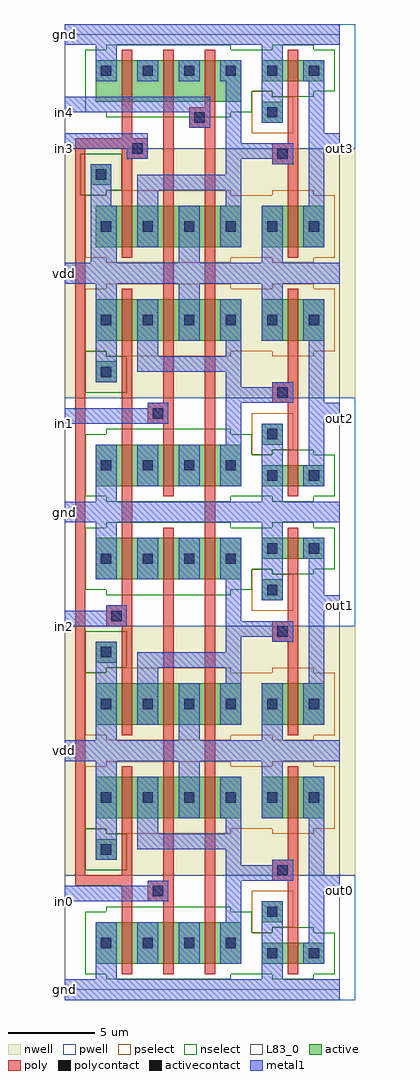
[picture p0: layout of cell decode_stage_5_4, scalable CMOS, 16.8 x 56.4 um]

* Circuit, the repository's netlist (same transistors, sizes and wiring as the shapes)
.SUBCKT decode_stage_5_4 in0 in1 in2 in3 in4 out0 out1 out2 out3 vdd gnd
M00 gnd in3 net01 gnd n w=2.4u l=0.6u
M01 net01 in0 net02 gnd n w=2.4u l=0.6u
M02 net02 in4 z0 gnd n w=2.4u l=0.6u
M03 vdd in3 z0 vdd p w=2.4u l=0.6u
M04 z0 in0 vdd vdd p w=2.4u l=0.6u
M05 vdd in4 z0 vdd p w=2.4u l=0.6u
M06 gnd z0 out0 gnd n w=1.2u l=0.6u
M07 vdd z0 out0 vdd p w=2.4u l=0.6u
M10 gnd in2 net11 gnd n w=2.4u l=0.6u
M11 net11 in0 net12 gnd n w=2.4u l=0.6u
M12 net12 in4 z1 gnd n w=2.4u l=0.6u
M13 vdd in2 z1 vdd p w=2.4u l=0.6u
M14 z1 in0 vdd vdd p w=2.4u l=0.6u
M15 vdd in4 z1 vdd p w=2.4u l=0.6u
M16 gnd z1 out1 gnd n w=1.2u l=0.6u
M17 vdd z1 out1 vdd p w=2.4u l=0.6u
M20 gnd in2 net21 gnd n w=2.4u l=0.6u
M21 net21 in1 net22 gnd n w=2.4u l=0.6u
M22 net22 in4 z2 gnd n w=2.4u l=0.6u
M23 vdd in2 z2 vdd p w=2.4u l=0.6u
M24 z2 in1 vdd vdd p w=2.4u l=0.6u
M25 vdd in4 z2 vdd p w=2.4u l=0.6u
M26 gnd z2 out2 gnd n w=1.2u l=0.6u
M27 vdd z2 out2 vdd p w=2.4u l=0.6u
M30 gnd in3 net31 gnd n w=2.4u l=0.6u
M31 net31 in1 net32 gnd n w=2.4u l=0.6u
M32 net32 in4 z3 gnd n w=2.4u l=0.6u
M33 vdd in3 z3 vdd p w=2.4u l=0.6u
M34 z3 in1 vdd vdd p w=2.4u l=0.6u
M35 vdd in4 z3 vdd p w=2.4u l=0.6u
M36 gnd z3 out3 gnd n w=1.2u l=0.6u
M37 vdd z3 out3 vdd p w=2.4u l=0.6u
.ENDS decode_stage_5_4

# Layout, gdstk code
import gdstk
lib = gdstk.Library(unit=1e-6, precision=1e-09)
def R(c, l, rs):  # rectangles x0, y0, x1, y1
    for r in rs: c.add(gdstk.rectangle(r[:2], r[2:], *l))
def A(c, l, x, y, w, h, nx, ny, dx, dy):  # array of equal rectangles
    R(c, l, [(x+i*dx, y+j*dy, x+i*dx+w, y+j*dy+h) for i in range(nx) for j in range(ny)])
pwell = (41, 0)
nwell = (42, 0)
active = (43, 0)
pselect = (44, 0)
nselect = (45, 0)
poly = (46, 0)
polycontact = (47, 0)
activecontact = (48, 0)
metal1 = (49, 0)
L83_0 = (83, 0)

decode_stage_5_4 = lib.new_cell('decode_stage_5_4')
R(decode_stage_5_4, pwell, [(0,-0.6,16.8,6.6), (0,21,16.8,34.2), (0,48.6,16.8,55.8)])
R(decode_stage_5_4, nwell, [(0,6.6,16.8,21), (0,34.2,16.8,48.6)])
R(decode_stage_5_4, active, [(1.8,1.5,10.2,3.9), (11.4,1.5,15,2.7), (11.4,3.9,12.6,5.1), (1.8,7.5,3,8.7), (1.8,9.9,10.2,12.3), (11.4,9.9,15,12.3), (1.8,15.3,10.2,17.7), (11.4,15.3,15,17.7), (1.8,18.9,3,20.1), (11.4,22.5,12.6,23.7), (1.8,23.7,10.2,26.1), (11.4,24.9,15,26.1), (1.8,29.1,10.2,31.5), (11.4,29.1,15,30.3), (11.4,31.5,12.6,32.7), (1.8,35.1,3,36.3), (1.8,37.5,10.2,39.9), (11.4,37.5,15,39.9), (1.8,42.9,10.2,45.3), (11.4,42.9,15,45.3), (1.5,46.5,2.7,47.7), (11.4,50.1,12.6,51.3), (1.8,51.3,10.2,53.7), (11.4,52.5,15,53.7)])
R(decode_stage_5_4, pselect, [(10.8,3.3,12,3.6), (10.8,3.6,13.2,5.7), (2.4,9,9.6,9.3), (12,9,14.4,9.3), (1.2,9.3,15.6,12.9), (2.4,12.9,9.6,13.2), (12,12.9,14.4,13.2), (2.4,14.4,9.6,14.7), (12,14.4,14.4,14.7), (1.2,14.7,15.6,18.3), (2.4,18.3,9.6,18.6), (12,18.3,14.4,18.6), (10.8,21.9,13.2,24), (10.8,24,12,24.3), (10.8,30.9,12,31.2), (10.8,31.2,13.2,33.3), (2.4,36.6,9.6,36.9), (12,36.6,14.4,36.9), (1.2,36.9,15.6,40.5), (2.4,40.5,9.6,40.8), (12,40.5,14.4,40.8), (2.4,42,9.6,42.3), (12,42,14.4,42.3), (1.2,42.3,15.6,45.9), (2.4,45.9,9.6,46.2), (12,45.9,14.4,46.2), (10.8,49.5,13.2,51.6), (10.8,51.6,12,51.9)])
R(decode_stage_5_4, nselect, [(2.4,0.6,9.6,0.9), (12,0.6,14.4,0.9), (1.2,0.9,15.6,3.3), (1.2,3.3,10.8,4.5), (12,3.3,14.4,3.6), (2.4,4.5,9.6,4.8), (1.2,6.9,3.6,9), (1.2,9,2.4,9.3), (1.2,18.3,2.4,18.6), (1.2,18.6,3.6,20.7), (2.4,22.8,9.6,23.1), (1.2,23.1,10.8,24.3), (12,24,14.4,24.3), (1.2,24.3,15.6,26.7), (2.4,26.7,9.6,27), (12,26.7,14.4,27), (2.4,28.2,9.6,28.5), (12,28.2,14.4,28.5), (1.2,28.5,15.6,30.9), (1.2,30.9,10.8,32.1), (12,30.9,14.4,31.2), (2.4,32.1,9.6,32.4), (1.2,34.5,3.6,36.6), (1.2,36.6,2.4,36.9), (0.9,45.9,2.4,46.2), (0.9,46.2,3.3,48.3), (2.4,50.4,9.6,50.7), (1.2,50.7,10.8,51.9), (12,51.6,14.4,51.9), (1.2,51.9,15.6,54.3), (2.4,54.3,9.6,54.6), (12,54.3,14.4,54.6)])
A(decode_stage_5_4, poly, 12, 6.3, 1.5, 1.2, 1, 4, 0, 13.8)
R(decode_stage_5_4, poly, [(3.3,0.9,3.9,6), (5.7,0.9,6.3,5.1), (8.1,0.9,8.7,49.8), (12.9,0.9,13.5,6.3), (4.8,5.1,6.3,6.3), (0.6,6,3.9,6.6), (5.7,6.3,6.3,26.7), (0.6,6.6,1.2,48.6), (3.3,6.6,3.9,12.9), (12.9,7.5,13.5,12.9), (3.3,14.7,3.9,21), (12.9,14.7,13.5,20.1), (2.4,21,3.9,22.2), (12.9,21.3,13.5,26.7), (3.3,22.2,3.9,40.5), (5.7,28.5,6.3,32.7), (12.9,28.5,13.5,33.9), (4.8,32.7,6.3,33.9), (5.7,33.9,6.3,54.3), (12.9,35.1,13.5,40.5), (3.3,42.3,3.9,48), (12.9,42.3,13.5,47.7), (3.3,48,4.8,48.6), (0.6,48.6,4.8,49.2), (12.9,48.9,13.5,54.3), (3.3,49.2,3.9,54.3), (7.2,49.8,8.7,51), (8.1,51,8.7,54.3)])
A(decode_stage_5_4, polycontact, 12.3, 6.6, 0.6, 0.6, 1, 4, 0, 13.8)
R(decode_stage_5_4, polycontact, [(5.1,5.4,5.7,6), (2.7,21.3,3.3,21.9), (5.1,33,5.7,33.6), (3.9,48.3,4.5,48.9), (7.5,50.1,8.1,50.7)])
A(decode_stage_5_4, activecontact, 2.1, 2.4, 0.6, 0.6, 4, 2, 2.4, 22.2)
A(decode_stage_5_4, activecontact, 2.1, 10.8, 0.6, 0.6, 6, 2, 2.4, 5.4)
A(decode_stage_5_4, activecontact, 2.1, 30, 0.6, 0.6, 4, 1, 2.4, 0)
A(decode_stage_5_4, activecontact, 2.1, 38.4, 0.6, 0.6, 6, 2, 2.4, 5.4)
A(decode_stage_5_4, activecontact, 2.1, 52.8, 0.6, 0.6, 6, 1, 2.4, 0)
R(decode_stage_5_4, activecontact, [(11.7,1.8,12.3,2.4), (14.1,1.8,14.7,2.4), (11.7,4.2,12.3,4.8), (2.1,7.8,2.7,8.4), (2.1,19.2,2.7,19.8), (11.7,22.8,12.3,23.4), (11.7,25.2,12.3,25.8), (14.1,25.2,14.7,25.8), (11.7,29.4,12.3,30), (14.1,29.4,14.7,30), (11.7,31.8,12.3,32.4), (2.1,35.4,2.7,36), (1.8,46.8,2.4,47.4), (11.7,50.4,12.3,51)])
A(decode_stage_5_4, metal1, 0, -0.6, 15.9, 1.2, 1, 5, 0, 13.8)
A(decode_stage_5_4, metal1, 4.2, 1.5, 1.2, 2.4, 3, 2, 2.4, 22.2)
A(decode_stage_5_4, metal1, 4.2, 29.1, 1.2, 2.4, 3, 1, 2.4, 0)
A(decode_stage_5_4, metal1, 4.2, 52.5, 1.2, 1.2, 3, 1, 2.4, 0)
R(decode_stage_5_4, metal1, [(1.8,0.6,3,3.9), (11.4,0.6,12.6,5.1), (13.8,1.5,15,2.7), (14.1,2.7,15,5.7), (9.3,3.9,10.2,6.3), (0,5.1,6,6), (14.1,5.7,15.9,6.6), (4.8,6,6,6.3), (9.3,6.3,13.2,7.2), (14.1,6.6,15,9.9), (9.3,7.2,10.2,8.1), (12,7.2,13.2,7.5), (1.8,7.5,3,13.2), (4.2,8.1,10.2,9), (4.2,9,5.4,12.3), (9.3,9,10.2,9.9), (6.6,9.9,7.8,13.2), (9,9.9,10.2,12.3), (11.4,9.9,12.6,13.2), (13.8,9.9,15,12.3), (1.8,14.4,3,20.1), (6.6,14.4,7.8,17.7), (11.4,14.4,12.6,17.7), (4.2,15.3,5.4,18.6), (9,15.3,10.2,17.7), (13.8,15.3,15,17.7), (9.3,17.7,10.2,18.6), (14.1,17.7,15,21.9), (4.2,18.6,10.2,19.5), (9.3,19.5,10.2,20.4), (12,20.1,13.2,20.4), (9.3,20.4,13.2,21.3), (0,21,3.6,21.9), (9.3,21.3,10.2,23.7), (2.4,21.9,3.6,22.2), (14.1,21.9,15.9,22.8), (11.4,22.5,12.6,27), (14.1,22.8,15,24.9), (1.8,23.7,3,27), (13.8,24.9,15,26.1), (1.8,28.2,3,31.5), (11.4,28.2,12.6,32.7), (13.8,29.1,15,30.3), (14.1,30.3,15,33), (9.3,31.5,10.2,33.9), (0,32.7,6,33.6), (14.1,33,15.9,33.9), (4.8,33.6,6,33.9), (9.3,33.9,13.2,34.8), (14.1,33.9,15,37.5), (9.3,34.8,10.2,35.7), (12,34.8,13.2,35.1), (1.8,35.1,3,40.8), (4.2,35.7,10.2,36.6), (4.2,36.6,5.4,39.9), (9.3,36.6,10.2,37.5), (6.6,37.5,7.8,40.8), (9,37.5,10.2,39.9), (11.4,37.5,12.6,40.8), (13.8,37.5,15,39.9), (1.5,42,3,45.3), (6.6,42,7.8,45.3), (11.4,42,12.6,45.3), (4.2,42.9,5.4,46.2), (9,42.9,10.2,45.3), (13.8,42.9,15,45.3), (1.5,45.3,2.7,47.7), (9.3,45.3,10.2,46.2), (14.1,45.3,15,48.6), (4.2,46.2,10.2,47.1), (9.3,47.1,10.2,48), (12,47.7,13.2,48), (3.6,48,4.8,48.6), (9.3,48,13.2,48.9), (0,48.6,4.8,49.5), (14.1,48.6,15.9,49.5), (9.3,48.9,10.2,52.5), (14.1,49.5,15,52.5), (7.2,49.8,8.4,50.7), (11.4,50.1,12.6,54.6), (0,50.7,8.4,51.6), (1.8,52.5,3,54.6), (13.8,52.5,15,53.7)])
R(decode_stage_5_4, L83_0, [(0,0,15.9,55.2)])
decode_stage_5_4.add(gdstk.Label('in0', (0,5.1), layer=49, texttype=0))
decode_stage_5_4.add(gdstk.Label('gnd', (0,0), layer=49, texttype=0))
decode_stage_5_4.add(gdstk.Label('vdd', (0,13.8), layer=49, texttype=0))
decode_stage_5_4.add(gdstk.Label('vdd', (0,41.4), layer=49, texttype=0))
decode_stage_5_4.add(gdstk.Label('gnd', (0,27.6), layer=49, texttype=0))
decode_stage_5_4.add(gdstk.Label('gnd', (0,55.2), layer=49, texttype=0))
decode_stage_5_4.add(gdstk.Label('in3', (0,48.6), layer=49, texttype=0))
decode_stage_5_4.add(gdstk.Label('in4', (0,50.7), layer=49, texttype=0))
decode_stage_5_4.add(gdstk.Label('out3', (15.9,48.6), layer=49, texttype=0))
decode_stage_5_4.add(gdstk.Label('out2', (15.9,33), layer=49, texttype=0))
decode_stage_5_4.add(gdstk.Label('out1', (15.9,22.2), layer=49, texttype=0))
decode_stage_5_4.add(gdstk.Label('out0', (15.9,5.7), layer=49, texttype=0))
decode_stage_5_4.add(gdstk.Label('in2', (0,21), layer=49, texttype=0))
decode_stage_5_4.add(gdstk.Label('in1', (0,32.7), layer=49, texttype=0))

lib.write_gds('decode_stage_5_4.gds')
